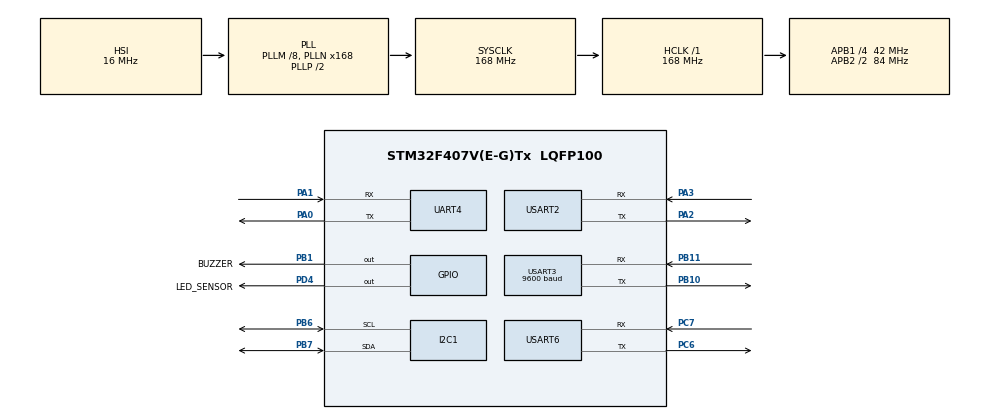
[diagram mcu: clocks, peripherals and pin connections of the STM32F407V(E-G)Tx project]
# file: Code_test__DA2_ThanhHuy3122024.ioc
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Mcu.Family=STM32F4
Mcu.Name=STM32F407V(E-G)Tx
Mcu.Package=LQFP100
NVIC.I2C1_ER_IRQn=true\:0\:0\:false\:false\:true\:true\:true\:true
NVIC.I2C1_EV_IRQn=true\:0\:0\:false\:false\:true\:true\:true\:true
NVIC.PriorityGroup=NVIC_PRIORITYGROUP_4
NVIC.TIM2_IRQn=true\:0\:0\:false\:false\:true\:true\:true\:true
NVIC.UART4_IRQn=true\:0\:0\:false\:false\:true\:true\:true\:true
NVIC.USART3_IRQn=true\:0\:0\:false\:false\:true\:true\:true\:true
PA0-WKUP.Mode=Asynchronous
PA0-WKUP.Signal=UART4_TX
PA1.Mode=Asynchronous
PA1.Signal=UART4_RX
PA13.Mode=Serial_Wire
PA13.Signal=SYS_JTMS-SWDIO
PA14.Mode=Serial_Wire
PA14.Signal=SYS_JTCK-SWCLK
PA2.Mode=Asynchronous
PA2.Signal=USART2_TX
PA3.Mode=Asynchronous
PA3.Signal=USART2_RX
PB1.GPIO_Label=BUZZER
PB1.Signal=GPIO_Output
PB10.Mode=Asynchronous
PB10.Signal=USART3_TX
PB11.Mode=Asynchronous
PB11.Signal=USART3_RX
PB6.GPIO_Pu=GPIO_PULLUP
PB6.Mode=I2C
PB6.Signal=I2C1_SCL
PB7.GPIO_Pu=GPIO_PULLUP
PB7.Mode=I2C
PB7.Signal=I2C1_SDA
PC6.Mode=Asynchronous
PC6.Signal=USART6_TX
PC7.Mode=Asynchronous
PC7.Signal=USART6_RX
PD4.GPIO_Label=LED_SENSOR
PD4.Signal=GPIO_Output
PH0-OSC_IN.Mode=HSE-External-Oscillator
PH0-OSC_IN.Signal=RCC_OSC_IN
PH1-OSC_OUT.Mode=HSE-External-Oscillator
PH1-OSC_OUT.Signal=RCC_OSC_OUT
ProjectManager.HeapSize=0x200
ProjectManager.StackSize=0x400
ProjectManager.TargetToolchain=STM32CubeIDE
RCC.48MHZClocksFreq_Value=84000000
RCC.AHBFreq_Value=168000000
RCC.APB1CLKDivider=RCC_HCLK_DIV4
RCC.APB1Freq_Value=42000000
RCC.APB1TimFreq_Value=84000000
RCC.APB2CLKDivider=RCC_HCLK_DIV2
RCC.APB2Freq_Value=84000000
RCC.APB2TimFreq_Value=168000000
RCC.CortexFreq_Value=168000000
RCC.HCLKFreq_Value=168000000
RCC.HSE_VALUE=25000000
RCC.HSI_VALUE=16000000
RCC.LSE_VALUE=32768
RCC.PLLM=8
RCC.PLLN=168
RCC.SYSCLKFreq_VALUE=168000000
RCC.SYSCLKSource=RCC_SYSCLKSOURCE_PLLCLK
RCC.VCOOutputFreq_Value=336000000
TIM2.Period=30000
TIM2.Prescaler=16799
UART4.VirtualMode=Asynchronous
USART2.VirtualMode=VM_ASYNC
USART3.BaudRate=9600
USART3.VirtualMode=VM_ASYNC
USART6.VirtualMode=VM_ASYNC
VP_TIM2_VS_ClockSourceINT.Mode=Internal
board=custom

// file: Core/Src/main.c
/* USER CODE BEGIN Header */
/**
  ******************************************************************************
  * @file           : main.c
  * @brief          : Main program body
  ******************************************************************************
  * @attention
  *
  * Copyright (c) 2024 STMicroelectronics.
  * All rights reserved.
  *
  * This software is licensed under terms that can be found in the LICENSE file
  * in the root directory of this software component.
  * If no LICENSE file comes with this software, it is provided AS-IS.
  *
  ******************************************************************************
  */
/* USER CODE END Header */
#include "main.h"

/* USER CODE BEGIN Includes */
#include <stdio.h>  // Thêm dòng này vào đầu file
#include "string.h"

#define TX_SIZE 20
#define RX_SIZE 20
uint8_t Tx_Transmit_buffer[TX_SIZE] = "ThanhHuy\r\n";

uint8_t Tx_Transmit_DMA_buffer[TX_SIZE] = "32.333\r\n";
uint16_t TxDataLengthDMA = 0;
uint8_t MangLuuDuLieuDuocLuu[100] = {0};
uint8_t NhanDuLieuBuzzerBangNgat;

TAU1201_t gps;

/* USER CODE END Includes */

I2C_HandleTypeDef hi2c1;

TIM_HandleTypeDef htim2;

UART_HandleTypeDef huart4;
UART_HandleTypeDef huart2;
UART_HandleTypeDef huart3;
UART_HandleTypeDef huart6;

/* USER CODE BEGIN PV */
char nodeid[10] = "B1EFRT6"; // nodeid là chuỗi
float temperature;
float humidity;
float dust = 11;
float airperssure = 456;
uint8_t postDataNhietDo;
uint8_t postDataDoAm;

uint8_t uart3_rxBuffer[64];
uint8_t uart4_rxBuffer[64];
/* USER CODE END PV */

void SystemClock_Config(void);
static void MX_GPIO_Init(void);
static void MX_I2C1_Init(void);
static void MX_USART3_UART_Init(void);
static void MX_UART4_Init(void);
static void MX_USART2_UART_Init(void);
static void MX_USART6_UART_Init(void);
static void MX_TIM2_Init(void);

/* USER CODE BEGIN 0 */
const char apn[] = "v-internet";                                 // Change this to your Provider details
const char server[] = "huyed2.assfa.net";                        // Change this to your domain
const int port = 443;
const char resource[] = "/DoAn2.php"; // Endpoint của API trên server
const uint32_t timeOut = 10000;        // Th�?i gian ch�? cho các lệnh AT (ms)
char content[200];                      // Nội dung dữ liệu POST
char ATcommand[80];                    // Chuỗi lệnh AT được xây dựng
uint8_t buffer[100] = {0};             // Bộ đệm nhận dữ liệu từ module SIM
uint32_t previousTick;                 // Biến lưu th�?i gian trước đó

// Hàm gửi lệnh AT đến module SIM và nhận phản hồi
void SIMTransmit(char *cmd)
{
  memset(buffer, 0, sizeof(buffer));                             // Xóa bộ đệm trước khi sử dụng
  HAL_UART_Transmit(&huart2, (uint8_t *)cmd, strlen(cmd), 1000); // Gửi lệnh AT qua UART2
  HAL_UART_Receive(&huart2, buffer, 100, 1000);                  // Nhận phản hồi từ module SIM

  // Gửi phản hồi nhận được qua UART6 để debug
  HAL_UART_Transmit(&huart6, (uint8_t *)"Response: ", strlen("Response: "), 1000);
  HAL_UART_Transmit(&huart6, buffer, strlen((char *)buffer), 1000);
  HAL_UART_Transmit(&huart6, (uint8_t *)"\r\n", 2, 1000);
}

// Hàm kiểm tra cấu hình APN trên module SIM
void checkAPN(void)
{
  uint8_t APNisOK = 0;
  previousTick = HAL_GetTick(); // Ghi nhận th�?i gian bắt đầu kiểm tra

  while (!APNisOK && previousTick + timeOut > HAL_GetTick())
  {
    SIMTransmit("AT+CGDCONT?\r\n"); // Gửi lệnh kiểm tra cấu hình APN hiện tại

    if (strstr((char *)buffer, apn)) // Kiểm tra phản hồi chứa thông tin APN đúng
    {
      APNisOK = 1;
      HAL_UART_Transmit(&huart6, (uint8_t *)"APN duoc cau hinh thanh cong!.\r\n", strlen("APN duoc cau hinh thanh cong!.\r\n"), 1000);
    }
    else
    {
      HAL_UART_Transmit(&huart6, (uint8_t *)"APN cau hinh sai...\r\n", strlen("APN cau hinh sai...\r\n"), 1000);
      sprintf(ATcommand, "AT+CGDCONT=1,\"IP\",\"%s\",\"0.0.0.0\",0,0\r\n", apn); // Lệnh cấu hình lại APN
      SIMTransmit(ATcommand);
    }
    HAL_Delay(1000); // �?ợi 1 giây trước khi thử lại
  }

  if (!APNisOK) // Nếu không thành công sau th�?i gian ch�?
  {
    HAL_UART_Transmit(&huart6, (uint8_t *)"APN configuration failed.\r\n", strlen("APN configuration failed.\r\n"), 1000);
  }
}

void httpPost(void)
{
  // Cấu hình HTTP
  SIMTransmit("AT+HTTPINIT\r\n"); // Khởi tạo HTTP
  HAL_Delay(2000);                // �?ợi một chút sau khi khởi tạo

  // Cấu hình URL (Server và Endpoint)
  sprintf(ATcommand, "AT+HTTPPARA=\"URL\",\"https://%s%s\"\r\n", server, resource);
  SIMTransmit(ATcommand); // Cấu hình URL của server
  HAL_Delay(2000);

  // Cấu hình loại nội dung (Content-Type)
  SIMTransmit("AT+HTTPPARA=\"CONTENT\",\"application/x-www-form-urlencoded\"\r\n");
  HAL_Delay(2000);

  // Xác định kích thước dữ liệu POST
  sprintf(ATcommand, "AT+HTTPDATA=%d,10000\r\n", strlen(content)); // Th�?i gian ch�? 10000ms
  SIMTransmit(ATcommand);
  HAL_Delay(2000);

  // Gửi dữ liệu POST
  SIMTransmit(content); // Nội dung sẽ được gửi dưới dạng body của POST
  HAL_Delay(2000);

  // Gửi lệnh POST đến server
  SIMTransmit("AT+HTTPACTION=1\r\n"); // 1 là HTTP POST
  HAL_Delay(5000);                    // �?ợi phản hồi từ server

  // Kiểm tra mã trạng thái HTTP từ server (200 OK)
  if (strstr((char *)buffer, "+HTTPACTION: 1,200"))
  {
    HAL_UART_Transmit(&huart6, (uint8_t *)"POST success.\r\n", strlen("POST success.\r\n"), 1000);
  }
  else
  {
    HAL_UART_Transmit(&huart6, (uint8_t *)"POST failed.\r\n", strlen("POST failed.\r\n"), 1000);
  }

  // �?óng HTTP
  SIMTransmit("AT+HTTPTERM\r\n");
  HAL_Delay(2000);
}
//
//void HAL_UART_RxCpltCallback(UART_HandleTypeDef *huart)
//{
//	if(huart->Instance == huart4.Instance)
//	{
//		HAL_UART_Transmit_IT(&huart4, MangLuuDuLieuDuocLuu, sizeof(MangLuuDuLieuDuocLuu));
//	}
////	if(huart->Instance == UART4)
////	{
////
////	}
//}

float Latitude, Longitude, Speed, Satelites;
float NguongNhietDoTren = 30, NguongNhietDoDuoi = 20, NguongDoAmTren = 60, NguongDoAmDuoi = 70;
//char GGA[100];
//char RMC[100];
//GPSSTRUCT gpsData;
// GPS Interrupt

//LOCATION loca;
#define DS3231_ADDRESS 0xD0

// Convert normal decimal numbers to binary coded decimal
uint8_t decToBcd(int val)
{
  return (uint8_t)( (val/10*16) + (val%10) );
}
// Convert binary coded decimal to normal decimal numbers
int bcdToDec(uint8_t val)
{
  return (int)( (val/16*10) + (val%16) );
}

typedef struct {
	uint8_t seconds;
	uint8_t minutes;
	uint8_t hour;
	uint8_t dayofweek;
	uint8_t dayofmonth;
	uint8_t month;
	uint8_t year;
} TIME_T;

TIME_T time;
// function to set time
void Set_Time (uint8_t sec, uint8_t min, uint8_t hour, uint8_t dow, uint8_t dom, uint8_t month, uint8_t year)
{
	uint8_t set_time[7];
	set_time[0] = decToBcd(sec);
	set_time[1] = decToBcd(min);
	set_time[2] = decToBcd(hour);
	set_time[3] = decToBcd(dow);
	set_time[4] = decToBcd(dom);
	set_time[5] = decToBcd(month);
	set_time[6] = decToBcd(year);

	HAL_I2C_Mem_Write(&hi2c1, DS3231_ADDRESS, 0x00, 1, set_time, 7, 1000);
}
void Get_Time (void)
{
	uint8_t get_time[7];
	HAL_I2C_Mem_Read(&hi2c1, DS3231_ADDRESS, 0x00, 1, get_time, 7, 1000);
	time.seconds = bcdToDec(get_time[0]);
	time.minutes = bcdToDec(get_time[1]);
	time.hour = bcdToDec(get_time[2]);
	time.dayofweek = bcdToDec(get_time[3]);
	time.dayofmonth = bcdToDec(get_time[4]);
	time.month = bcdToDec(get_time[5]);
	time.year = bcdToDec(get_time[6]);
}
float Get_Temp (void)
{
	uint8_t temp[2];

	HAL_I2C_Mem_Read(&hi2c1, DS3231_ADDRESS, 0x11, 1, temp, 2, 1000);
	return ((temp[0])+(temp[1]>>6)/4.0);
}
void force_temp_conv (void)
{
	uint8_t status=0;
	uint8_t control=0;
	HAL_I2C_Mem_Read(&hi2c1, DS3231_ADDRESS, 0x0F, 1, &status, 1, 100);  // read status register
	if (!(status&0x04))
	{
		HAL_I2C_Mem_Read(&hi2c1, DS3231_ADDRESS, 0x0E, 1, &control, 1, 100);  // read control register
		HAL_I2C_Mem_Write(&hi2c1, DS3231_ADDRESS, 0x0E, 1, (uint8_t *)(control|(0x20)), 1, 100);
	}
}
float TEMP;
char bufferDS3231[30];
void HAL_TIM_PeriodElapsedHalfCpltCallback(TIM_HandleTypeDef *htim)
{
	// 500ms
	if(htim->Instance == htim2.Instance)
	{

		//HAL_GPIO_WritePin(GPIOD, GPIO_PIN_4, GPIO_PIN_SET);
		HAL_GPIO_WritePin(GPIOB, GPIO_PIN_1, GPIO_PIN_RESET);
	}

	//KiemTraNguongBuzzer(temperature, )
}
void HAL_UART_RxCpltCallback(UART_HandleTypeDef *huart){
//	if(huart->Instance == gps.huart){
//		GPS_UART_CallBack(&gps);
//	}

//	// Biến cấu hình UART (Handle variable cho UART2)
//	UART_HandleTypeDef huart2;
//
//	// Chuỗi dữ liệu mẫu dùng để truy�?n
//	char *user_data = "The application is running\r\n";
//
//	// Bộ đệm (buffer) để lưu dữ liệu nhận được từ UART
//	uint8_t data_buffer[100];
//
//	// Biến lưu dữ liệu nhận được qua UART
//	uint8_t recvd_data;
//
//	// �?ếm số lượng byte dữ liệu đã nhận
//	uint32_t count = 0;
//
//	int main(void)
//	{
//	    HAL_Init(); // Khởi tạo thư viện HAL (Hardware Abstraction Layer)
//	    SystemClock_Config(); // Cấu hình xung nhịp hệ thống
//	    MX_GPIO_Init(); // Khởi tạo GPIO (các chân đầu vào/đầu ra)
//	    MX_USART2_UART_Init(); // Khởi tạo UART2
//
//	    // Gửi chuỗi dữ liệu user_data qua UART2 ở chế độ ngắt
//	    HAL_UART_Transmit_IT(&huart2, (uint8_t*)user_data, strlen(user_data));
//
//	    // Bắt đầu nhận dữ liệu từ UART2 ở chế độ ngắt
//	    HAL_UART_Receive_IT(&huart2, &recvd_data, 1);
//
//	    // Vòng lặp chính
//	    while (1)
//	    {
//	        // Bật tắt đèn LED (nối với chân GPIOA, LD2_Pin)
//	        HAL_GPIO_TogglePin(GPIOA, LD2_Pin);
//
//	        // Trễ 500ms trước khi lặp lại
//	        HAL_Delay(500);
//	    }
//	}
//
//	// Callback: �?ược g�?i khi quá trình truy�?n UART hoàn tất
//	void HAL_UART_TxCpltCallback(UART_HandleTypeDef *huart)
//	{
//	    // Xóa dữ liệu trong bộ đệm truy�?n user_data
//	    memset(user_data, 0, strlen(user_data));
//	}
//
//	// Callback: �?ược g�?i khi nhận dữ liệu qua UART hoàn tất
//	void HAL_UART_RxCpltCallback(UART_HandleTypeDef *huart)
//	{
//	    // Nếu ký tự nhận được là '\r' (Enter)
//	    if (recvd_data == '\r')
//	    {
//	        data_buffer[count++] = '\r'; // Lưu '\r' vào buffer
//	        HAL_UART_Transmit(huart, data_buffer, count, HAL_MAX_DELAY); // Truy�?n lại toàn bộ chuỗi đã nhận
//	        memset(data_buffer, 0, count); // Xóa nội dung trong buffer
//	        count = 0; // Reset biến đếm
//	    }
//	    else
//	    {
//	        // Lưu byte nhận được vào buffer và tăng biến đếm
//	        data_buffer[count++] = recvd_data;
//	    }
//
//	    // Bắt đầu nhận byte tiếp theo qua UART ở chế độ ngắt
//	    HAL_UART_Receive_IT(&huart2, &recvd_data, 1);
//	}
		if(huart->Instance == huart3.Instance){
			GPS_UART_CallBack(&gps);
		}
		else if(huart->Instance == huart4.Instance)
		{
				HAL_GPIO_WritePin(GPIOB, GPIO_PIN_1, GPIO_PIN_SET);
				HAL_Delay(1000);
				HAL_GPIO_WritePin(GPIOB, GPIO_PIN_1, GPIO_PIN_RESET);

				//HAL_GPIO_WritePin(GPIOB, GPIO_PIN_1, GPIO_PIN_RESET);

//			HAL_UART_Receive_IT(&huart4, &NhanDuLieuBuzzerBangNgat, sizeof(NhanDuLieuBuzzerBangNgat));
//			HAL_GPIO_WritePin(GPIOB, GPIO_PIN_1, GPIO_PIN_SET);
//			HAL_Delay(1000);
//			HAL_GPIO_WritePin(GPIOB, GPIO_PIN_1, GPIO_PIN_RESET);
//			memset(NhanDuLieuBuzzerBangNgat,0,sizeof(NhanDuLieuBuzzerBangNgat));
//			if(memcmp(NhanDuLieuBuzzerBangNgat,"\0", sizeof(NhanDuLieuBuzzerBangNgat)))
//			{
//				HAL_GPIO_WritePin(GPIOB, GPIO_PIN_1, GPIO_PIN_RESET);
//			}
			//HAL_UART_Receive_IT(&huart4, &NhanDuLieuBuzzerBangNgat, sizeof(NhanDuLieuBuzzerBangNgat));

}
}
void HAL_UART_TxCpltCallback(UART_HandleTypeDef *huart)
{
	//memset(MangLuuDuLieuDuocLuu, 0, strlen(MangLuuDuLieuDuocLuu));
	//uint8_t pinStateSensor = HAL_GPIO_WritePin(GPIOD, GPIO_PIN_4, 1);
	//uint8_t pin_state = (GPIOD->IDR & (1 << 4)) >> 4; // �?�?c trạng thái của chân PD4

}

void KiemTraNguongBuzzer(float NhietDoHienTai, float DoAmHienTai)
{
	if((NhietDoHienTai > NguongNhietDoDuoi) && (DoAmHienTai < NguongDoAmTren ))
	{
		HAL_GPIO_WritePin(GPIOB, GPIO_PIN_1, GPIO_PIN_SET);
		//HAL_TIM_Base_Start_IT(&htim2);
		HAL_Delay(500);
		HAL_GPIO_WritePin(GPIOB, GPIO_PIN_1, GPIO_PIN_RESET);
	}
	else
	{
		HAL_GPIO_WritePin(GPIOB, GPIO_PIN_1, GPIO_PIN_RESET);
	}
}

void RunMainProgram()
{
	printf("Get location completed, using location from GPS module\r\n");
				Latitude = getLatitude(&gps);
				Longitude = getLongitude(&gps);
				Speed = getSpeed(&gps);

	sprintf(MangLuuDuLieuDuocLuu,"%02d:%02d:%02d:%02d-%02d-20%02d NhietDo=%.2f DoAm=%.2f Latitude=%.2f%c Longtitude=%.2f%c Speed_km=%.3f\r\n",
			time.hour,
			time.minutes,
			time.seconds,
			time.dayofmonth,
			time.month,
			time.year,
			temperature,
			humidity,
			gps.dec_latitude,
			gps.ns,
			gps.dec_longitude,
			gps.ew,
			gps.speed_km
	);
	HAL_UART_Transmit_IT(&huart4, MangLuuDuLieuDuocLuu, sizeof(MangLuuDuLieuDuocLuu));
	HAL_UART_Receive_IT(&huart4, &NhanDuLieuBuzzerBangNgat,sizeof(NhanDuLieuBuzzerBangNgat));
	KiemTraNguongBuzzer(temperature, humidity);
}
//char uart6Buffer[256];

/* USER CODE END 0 */

int main(void)
{

  /* USER CODE BEGIN 1 */
	BH1750_init_i2c(&hi2c1);
  /* USER CODE END 1 */

  /* MCU Configuration--------------------------------------------------------*/

  /* Reset of all peripherals, Initializes the Flash interface and the Systick. */
  HAL_Init();

  /* Configure the system clock */
  SystemClock_Config();

  /* Initialize all configured peripherals */
  MX_GPIO_Init();
  MX_I2C1_Init();
  MX_USART3_UART_Init();
  MX_UART4_Init();
  MX_USART2_UART_Init();
  MX_USART6_UART_Init();
  MX_TIM2_Init();
  /* USER CODE BEGIN 2 */
  HAL_TIM_Base_Start_IT(&htim2);
  //Ringbuf_init();
  //Set_Time(05, 32, 9, 03, 17, 12, 24);

  // Initialize RTC with I2C handl
  rtc_init(&hi2c1);

  BH1750_device_t* test_dev = BH1750_init_dev_struct(&hi2c1, "test device", true);
  BH1750_init_dev(test_dev);
  SHT31_Config(SHT31_ADDRESS_A, &hi2c1);

  if(GPS_Init(&gps, &huart3) == GPS_OK){
  	  printf("Init GPS module completed\r\n");
    }
    else{
  	  printf("Init GPS module error\r\n");
    }

  checkAPN(); // Kiểm tra APN trước khi sử dụng HTTP POST
  /* USER CODE END 2 */

  /* Infinite loop */
  /* USER CODE BEGIN WHILE */
  while (1)
  {

	  RunMainProgram();
//=======================================SHT32+DS3231==============================================================
	  test_dev->poll(test_dev);
      HAL_Delay(200);
	  if(SHT31_GetData(SHT31_Periodic, SHT31_Medium, SHT31_NON_Stretch, SHT31_1) == SHT31_OK) {
	  	  	  		temperature = SHT31_GetTemperature();
	  	  	  		humidity = SHT31_GetHumidity();
	  }
	  Get_Time();
	  sprintf (bufferDS3231, "%02d:%02d:%02d:%02d-%02d-20%02d", time.hour, time.minutes, time.seconds,time.dayofmonth, time.month, time.year);
	  //=====================================================================================================

//	  postDataNhietDo = temperature;
//	  postDataDoAm  = humidity;
//
//	  // Lấy 2 chữ số đầu tiên của a và b
//	      while (postDataNhietDo >= 100) {
//	    	  postDataNhietDo /= 10; // Chia cho 10 để loại bỏ chữ số cuối
//	      }
//	      while (postDataDoAm >= 100) {
//	    	  postDataDoAm /= 10; // Chia cho 10 để loại bỏ chữ số cuối
//	      }

	  	 sprintf(content, "temperature=%.2f&humidity=%.2f&dust=%d&airperssure=%d&nodeid=%s&longitude=%.2f&latitude=%.2f",
	  			temperature, humidity, 11, 11, nodeid, Longitude, Latitude);

	  httpPost();
    /* USER CODE END WHILE */

  }
}

void SystemClock_Config(void)
{
  RCC_OscInitTypeDef RCC_OscInitStruct = {0};
  RCC_ClkInitTypeDef RCC_ClkInitStruct = {0};

  /** Configure the main internal regulator output voltage
  */
  __HAL_RCC_PWR_CLK_ENABLE();
  __HAL_PWR_VOLTAGESCALING_CONFIG(PWR_REGULATOR_VOLTAGE_SCALE1);

  /** Initializes the RCC Oscillators according to the specified parameters
  * in the RCC_OscInitTypeDef structure.
  */
  RCC_OscInitStruct.OscillatorType = RCC_OSCILLATORTYPE_HSI;
  RCC_OscInitStruct.HSIState = RCC_HSI_ON;
  RCC_OscInitStruct.HSICalibrationValue = RCC_HSICALIBRATION_DEFAULT;
  RCC_OscInitStruct.PLL.PLLState = RCC_PLL_ON;
  RCC_OscInitStruct.PLL.PLLSource = RCC_PLLSOURCE_HSI;
  RCC_OscInitStruct.PLL.PLLM = 8;
  RCC_OscInitStruct.PLL.PLLN = 168;
  RCC_OscInitStruct.PLL.PLLP = RCC_PLLP_DIV2;
  RCC_OscInitStruct.PLL.PLLQ = 4;
  if (HAL_RCC_OscConfig(&RCC_OscInitStruct) != HAL_OK)
  {
    Error_Handler();
  }

  /** Initializes the CPU, AHB and APB buses clocks
  */
  RCC_ClkInitStruct.ClockType = RCC_CLOCKTYPE_HCLK|RCC_CLOCKTYPE_SYSCLK
                              |RCC_CLOCKTYPE_PCLK1|RCC_CLOCKTYPE_PCLK2;
  RCC_ClkInitStruct.SYSCLKSource = RCC_SYSCLKSOURCE_PLLCLK;
  RCC_ClkInitStruct.AHBCLKDivider = RCC_SYSCLK_DIV1;
  RCC_ClkInitStruct.APB1CLKDivider = RCC_HCLK_DIV4;
  RCC_ClkInitStruct.APB2CLKDivider = RCC_HCLK_DIV2;

  if (HAL_RCC_ClockConfig(&RCC_ClkInitStruct, FLASH_LATENCY_5) != HAL_OK)
  {
    Error_Handler();
  }
}

static void MX_I2C1_Init(void)
{

  hi2c1.Instance = I2C1;
  hi2c1.Init.ClockSpeed = 100000;
  hi2c1.Init.DutyCycle = I2C_DUTYCYCLE_2;
  hi2c1.Init.OwnAddress1 = 0;
  hi2c1.Init.AddressingMode = I2C_ADDRESSINGMODE_7BIT;
  hi2c1.Init.DualAddressMode = I2C_DUALADDRESS_DISABLE;
  hi2c1.Init.OwnAddress2 = 0;
  hi2c1.Init.GeneralCallMode = I2C_GENERALCALL_DISABLE;
  hi2c1.Init.NoStretchMode = I2C_NOSTRETCH_DISABLE;
  if (HAL_I2C_Init(&hi2c1) != HAL_OK)
  {
    Error_Handler();
  }

}

static void MX_TIM2_Init(void)
{

  TIM_ClockConfigTypeDef sClockSourceConfig = {0};
  TIM_MasterConfigTypeDef sMasterConfig = {0};

  htim2.Instance = TIM2;
  htim2.Init.Prescaler = 16799;
  htim2.Init.CounterMode = TIM_COUNTERMODE_UP;
  htim2.Init.Period = 30000;
  htim2.Init.ClockDivision = TIM_CLOCKDIVISION_DIV1;
  htim2.Init.AutoReloadPreload = TIM_AUTORELOAD_PRELOAD_DISABLE;
  if (HAL_TIM_Base_Init(&htim2) != HAL_OK)
  {
    Error_Handler();
  }
  sClockSourceConfig.ClockSource = TIM_CLOCKSOURCE_INTERNAL;
  if (HAL_TIM_ConfigClockSource(&htim2, &sClockSourceConfig) != HAL_OK)
  {
    Error_Handler();
  }
  sMasterConfig.MasterOutputTrigger = TIM_TRGO_RESET;
  sMasterConfig.MasterSlaveMode = TIM_MASTERSLAVEMODE_DISABLE;
  if (HAL_TIMEx_MasterConfigSynchronization(&htim2, &sMasterConfig) != HAL_OK)
  {
    Error_Handler();
  }

}

static void MX_UART4_Init(void)
{

  huart4.Instance = UART4;
  huart4.Init.BaudRate = 115200;
  huart4.Init.WordLength = UART_WORDLENGTH_8B;
  huart4.Init.StopBits = UART_STOPBITS_1;
  huart4.Init.Parity = UART_PARITY_NONE;
  huart4.Init.Mode = UART_MODE_TX_RX;
  huart4.Init.HwFlowCtl = UART_HWCONTROL_NONE;
  huart4.Init.OverSampling = UART_OVERSAMPLING_16;
  if (HAL_UART_Init(&huart4) != HAL_OK)
  {
    Error_Handler();
  }

}

static void MX_USART2_UART_Init(void)
{

  huart2.Instance = USART2;
  huart2.Init.BaudRate = 115200;
  huart2.Init.WordLength = UART_WORDLENGTH_8B;
  huart2.Init.StopBits = UART_STOPBITS_1;
  huart2.Init.Parity = UART_PARITY_NONE;
  huart2.Init.Mode = UART_MODE_TX_RX;
  huart2.Init.HwFlowCtl = UART_HWCONTROL_NONE;
  huart2.Init.OverSampling = UART_OVERSAMPLING_16;
  if (HAL_UART_Init(&huart2) != HAL_OK)
  {
    Error_Handler();
  }

}

static void MX_USART3_UART_Init(void)
{

  huart3.Instance = USART3;
  huart3.Init.BaudRate = 9600;
  huart3.Init.WordLength = UART_WORDLENGTH_8B;
  huart3.Init.StopBits = UART_STOPBITS_1;
  huart3.Init.Parity = UART_PARITY_NONE;
  huart3.Init.Mode = UART_MODE_TX_RX;
  huart3.Init.HwFlowCtl = UART_HWCONTROL_NONE;
  huart3.Init.OverSampling = UART_OVERSAMPLING_16;
  if (HAL_UART_Init(&huart3) != HAL_OK)
  {
    Error_Handler();
  }

}

static void MX_USART6_UART_Init(void)
{

  huart6.Instance = USART6;
  huart6.Init.BaudRate = 115200;
  huart6.Init.WordLength = UART_WORDLENGTH_8B;
  huart6.Init.StopBits = UART_STOPBITS_1;
  huart6.Init.Parity = UART_PARITY_NONE;
  huart6.Init.Mode = UART_MODE_TX_RX;
  huart6.Init.HwFlowCtl = UART_HWCONTROL_NONE;
  huart6.Init.OverSampling = UART_OVERSAMPLING_16;
  if (HAL_UART_Init(&huart6) != HAL_OK)
  {
    Error_Handler();
  }

}

static void MX_GPIO_Init(void)
{
  GPIO_InitTypeDef GPIO_InitStruct = {0};

  /* GPIO Ports Clock Enable */
  __HAL_RCC_GPIOH_CLK_ENABLE();
  __HAL_RCC_GPIOA_CLK_ENABLE();
  __HAL_RCC_GPIOB_CLK_ENABLE();
  __HAL_RCC_GPIOC_CLK_ENABLE();
  __HAL_RCC_GPIOD_CLK_ENABLE();

  /*Configure GPIO pin Output Level */
  HAL_GPIO_WritePin(BUZZER_GPIO_Port, BUZZER_Pin, GPIO_PIN_RESET);

  /*Configure GPIO pin Output Level */
  HAL_GPIO_WritePin(LED_SENSOR_GPIO_Port, LED_SENSOR_Pin, GPIO_PIN_RESET);

  /*Configure GPIO pin : BUZZER_Pin */
  GPIO_InitStruct.Pin = BUZZER_Pin;
  GPIO_InitStruct.Mode = GPIO_MODE_OUTPUT_PP;
  GPIO_InitStruct.Pull = GPIO_NOPULL;
  GPIO_InitStruct.Speed = GPIO_SPEED_FREQ_LOW;
  HAL_GPIO_Init(BUZZER_GPIO_Port, &GPIO_InitStruct);

  /*Configure GPIO pin : LED_SENSOR_Pin */
  GPIO_InitStruct.Pin = LED_SENSOR_Pin;
  GPIO_InitStruct.Mode = GPIO_MODE_OUTPUT_PP;
  GPIO_InitStruct.Pull = GPIO_NOPULL;
  GPIO_InitStruct.Speed = GPIO_SPEED_FREQ_LOW;
  HAL_GPIO_Init(LED_SENSOR_GPIO_Port, &GPIO_InitStruct);

}

void Error_Handler(void)
{
  __disable_irq();
  while (1)
  {
  }
}
